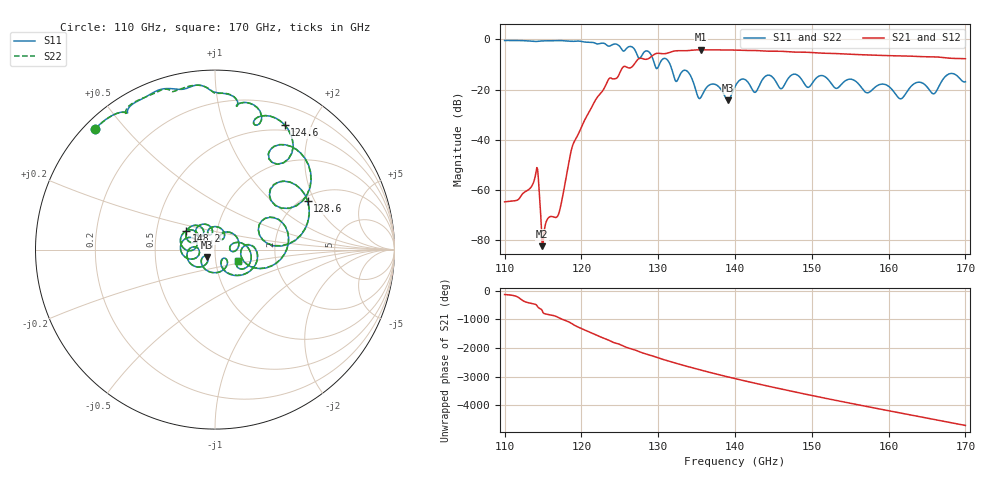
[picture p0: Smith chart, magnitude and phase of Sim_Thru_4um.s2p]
! Touchstone file exported from HFSS 2020.2.4
!  File:  D:/Project/Deacon_v3/240214_MPW12_Gap_WG_Tester_D2A/Gap_WG_Tester_D2.aedt
!  Generated:  11:46:46 AM  Mar 20, 2025
!  Design:  Thru
!  Project:  Gap_WG_Tester_D2
!  Setup:  Setup1
!  Solution:  Sweep
! Variables:
!  C_G = 4um
!  C_H = 0.5mm
!  E_P = 133um
!  S_H1 = 260um
!  S_H2 = 0.013mm
!  S_H3 = 8um
!  S_X = 30mm
!  S_X0 = 15mm
!  S_Y = 15mm
!  S_Y0 = 7.5mm
!  TL_G = 40um
!  TL_L = 9.64678486627962mm
!  TL_W = 0.24mm
!  TR_L = 706.43026744077um
!  TR_L2 = 226.8691264263um
!  TR_L3 = 373.29154801399um
!  TR_P = 109.62537243288um
!  TR_W = 1597.2041747747um
!  TR_W2 = 282.226541747um
!  V_PBO = 20um
!  V_Pad = 40um
!  V_R = 20um
!  WG_L = 0.8255mm
!  WG_W = 1.651mm
!  th = 5um
!Data is not renormalized
# GHZ S MA
! Terminal data exported
! Port[1] = 1
! Port[2] = 2
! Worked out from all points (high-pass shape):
!   601 points, 110 GHz to 170 GHz, reference per port
!   highest |S21| = -4.18 dB at 135.6 GHz (marker M1); lowest = -82.4 dB at 114.9 GHz (marker M2)
!   |S21| within 3 dB of the highest: 129 GHz to 166.9 GHz (37.87 GHz wide, 25.6 % of centre)
!   lowest |S11| = -24.3 dB at 139.1 GHz (marker M3), VSWR 1.13
!   |S11| at or under -10 dB: 129.5368 GHz to 130.1475 GHz (610.8 MHz wide, 0.47 % of centre); 131.5 GHz to end of sweep
!   |S22| runs from -24.3 to -0.5 dB; largest |S21 - S12| = 9.3e-10
!   S11 on the Smith chart (normalised r, x): 110 GHz: 0.03, +0.41; 124.6 GHz: 0.43, +1.62; 128.6 GHz: 2.14, +1.76; 148.2 GHz: 0.71, +0.15; 170 GHz: 1.29, -0.16
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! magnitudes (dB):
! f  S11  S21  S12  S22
! 110 GHz  -0.5  -64.8  -64.8  -0.5
! 114.1 GHz  -0.9  -52.7  -52.7  -0.9
! 114.9 GHz  -0.6  -82.4  -82.4  -0.6
! 117 GHz  -0.5  -69.8  -69.8  -0.6
! 118.7 GHz  -0.8  -44.0  -44.0  -0.8
! 120 GHz  -0.9  -35.0  -35.0  -0.9
! 124.6 GHz  -2.0  -15.4  -15.4  -2.0
! 128.6 GHz  -4.7  -7.9  -7.9  -4.7
! 130 GHz  -11.0  -5.6  -5.6  -11.0
! 133.7 GHz  -12.5  -4.5  -4.5  -12.5
! 135.6 GHz  -22.9  -4.2  -4.2  -22.7
! 137.2 GHz  -17.8  -4.2  -4.2  -17.8
! 139.1 GHz  -24.3  -4.2  -4.2  -24.3
! 140 GHz  -18.9  -4.3  -4.3  -18.9
! 148.2 GHz  -14.4  -5.1  -5.1  -14.4
! 150 GHz  -17.8  -5.3  -5.3  -17.8
! 160 GHz  -18.7  -6.5  -6.5  -18.8
! 161.6 GHz  -23.7  -6.6  -6.6  -23.8
! 163.8 GHz  -17.1  -6.9  -6.9  -17.1
! 166 GHz  -21.5  -7.0  -7.0  -21.5
! 168 GHz  -13.7  -7.5  -7.5  -13.7
! 170 GHz  -16.9  -7.7  -7.7  -16.9
